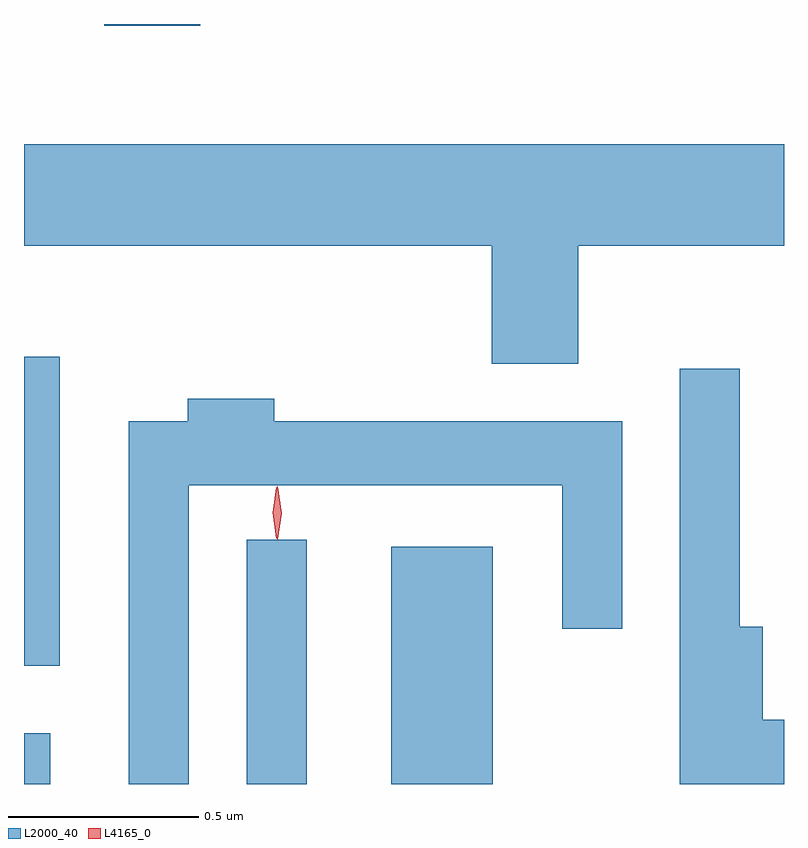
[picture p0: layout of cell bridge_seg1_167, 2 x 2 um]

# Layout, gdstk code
import gdstk
lib = gdstk.Library(unit=1e-6, precision=1e-09)
def R(c, l, rs):  # rectangles x0, y0, x1, y1
    for r in rs: c.add(gdstk.rectangle(r[:2], r[2:], *l))
def P(c, l, *ps):  # polygons
    for p in ps: c.add(gdstk.Polygon(p, *l))
L2000_40 = (2000, 40)
L4165_0 = (4165, 0)

bridge_seg1_167 = lib.new_cell('bridge_seg1_167')
R(bridge_seg1_167, L2000_40, [(805.55,969.2,805.619,969.334), (806.136,969.2,806.294,969.843), (806.516,969.2,806.784,969.824), (805.55,969.511,805.644,970.324), (805.761,971.196,806.014,971.2)])
P(bridge_seg1_167, L2000_40, [(807.009,970.616),(807.55,970.616),(807.55,970.884),(805.55,970.884),(805.55,970.616),(806.781,970.616),(806.781,970.306),(807.009,970.306)],
  [(807.55,969.369),(807.494,969.369),(807.494,969.614),(807.434,969.614),(807.434,970.293),(807.276,970.293),(807.276,969.2),(807.55,969.2)],
  [(805.984,969.986),(806.966,969.986),(806.966,969.608),(807.124,969.608),(807.124,970.154),(806.209,970.154),(806.209,970.214),(805.981,970.214),(805.981,970.154),(805.826,970.154),(805.826,969.2),(805.984,969.2)])
P(bridge_seg1_167, L4165_0, [(806.217,969.844),(806.208,969.913),(806.217,969.982),(806.218,969.983),(806.218,969.982),(806.228,969.913),(806.218,969.844),(806.218,969.844)],
  [(806.214,969.847),(806.214,969.847),(806.204,969.914),(806.214,969.98),(806.214,969.981),(806.215,969.98),(806.224,969.914),(806.215,969.847)])

lib.write_gds('bridge_seg1_167.gds')
